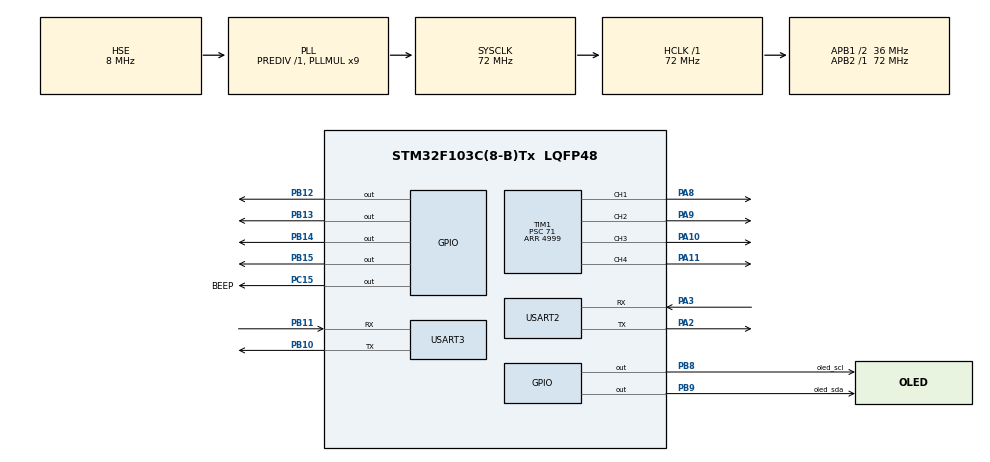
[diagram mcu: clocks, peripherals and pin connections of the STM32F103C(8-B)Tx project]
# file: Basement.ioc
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Dma.Request0=USART2_RX
Dma.Request1=USART3_RX
Dma.Request2=USART3_TX
Dma.USART2_RX.0.Direction=DMA_PERIPH_TO_MEMORY
Dma.USART2_RX.0.Instance=DMA1_Channel6
Dma.USART2_RX.0.MemDataAlignment=DMA_MDATAALIGN_BYTE
Dma.USART2_RX.0.MemInc=DMA_MINC_ENABLE
Dma.USART2_RX.0.Mode=DMA_NORMAL
Dma.USART2_RX.0.PeriphDataAlignment=DMA_PDATAALIGN_BYTE
Dma.USART2_RX.0.PeriphInc=DMA_PINC_DISABLE
Dma.USART2_RX.0.Priority=DMA_PRIORITY_LOW
Dma.USART3_RX.1.Direction=DMA_PERIPH_TO_MEMORY
Dma.USART3_RX.1.Instance=DMA1_Channel3
Dma.USART3_RX.1.MemDataAlignment=DMA_MDATAALIGN_BYTE
Dma.USART3_RX.1.MemInc=DMA_MINC_ENABLE
Dma.USART3_RX.1.Mode=DMA_NORMAL
Dma.USART3_RX.1.PeriphDataAlignment=DMA_PDATAALIGN_BYTE
Dma.USART3_RX.1.PeriphInc=DMA_PINC_DISABLE
Dma.USART3_RX.1.Priority=DMA_PRIORITY_LOW
Dma.USART3_TX.2.Direction=DMA_MEMORY_TO_PERIPH
Dma.USART3_TX.2.Instance=DMA1_Channel2
Dma.USART3_TX.2.MemDataAlignment=DMA_MDATAALIGN_BYTE
Dma.USART3_TX.2.MemInc=DMA_MINC_ENABLE
Dma.USART3_TX.2.Mode=DMA_NORMAL
Dma.USART3_TX.2.PeriphDataAlignment=DMA_PDATAALIGN_BYTE
Dma.USART3_TX.2.PeriphInc=DMA_PINC_DISABLE
Dma.USART3_TX.2.Priority=DMA_PRIORITY_LOW
Mcu.Family=STM32F1
Mcu.Name=STM32F103C(8-B)Tx
Mcu.Package=LQFP48
NVIC.DMA1_Channel2_IRQn=true\:0\:0\:false\:false\:true\:false\:true\:true
NVIC.DMA1_Channel3_IRQn=true\:0\:0\:false\:false\:true\:false\:true\:true
NVIC.DMA1_Channel6_IRQn=true\:0\:0\:false\:false\:true\:false\:true\:true
NVIC.PriorityGroup=NVIC_PRIORITYGROUP_4
NVIC.USART2_IRQn=true\:0\:0\:false\:false\:true\:true\:true\:true
NVIC.USART3_IRQn=true\:0\:0\:false\:false\:true\:true\:true\:true
PA10.Signal=S_TIM1_CH3
PA11.Signal=S_TIM1_CH4
PA13.Mode=Serial_Wire
PA13.Signal=SYS_JTMS-SWDIO
PA14.Mode=Serial_Wire
PA14.Signal=SYS_JTCK-SWCLK
PA2.Mode=Asynchronous
PA2.Signal=USART2_TX
PA3.Mode=Asynchronous
PA3.Signal=USART2_RX
PA8.Signal=S_TIM1_CH1
PA9.Signal=S_TIM1_CH2
PB10.Mode=Asynchronous
PB10.Signal=USART3_TX
PB11.Mode=Asynchronous
PB11.Signal=USART3_RX
PB12.PinState=GPIO_PIN_SET
PB12.Signal=GPIO_Output
PB13.Signal=GPIO_Output
PB14.PinState=GPIO_PIN_SET
PB14.Signal=GPIO_Output
PB15.Signal=GPIO_Output
PB8.GPIO_Label=oled_scl
PB8.GPIO_PuPd=GPIO_PULLUP
PB8.GPIO_Speed=GPIO_SPEED_FREQ_HIGH
PB8.PinState=GPIO_PIN_SET
PB8.Signal=GPIO_Output
PB9.GPIO_Label=oled_sda
PB9.GPIO_PuPd=GPIO_PULLUP
PB9.GPIO_Speed=GPIO_SPEED_FREQ_HIGH
PB9.PinState=GPIO_PIN_SET
PB9.Signal=GPIO_Output
PC15-OSC32_OUT.GPIO_Label=BEEP
PC15-OSC32_OUT.Signal=GPIO_Output
PD0-OSC_IN.Mode=HSE-External-Oscillator
PD0-OSC_IN.Signal=RCC_OSC_IN
PD1-OSC_OUT.Mode=HSE-External-Oscillator
PD1-OSC_OUT.Signal=RCC_OSC_OUT
ProjectManager.HeapSize=0x200
ProjectManager.StackSize=0x400
ProjectManager.TargetToolchain=MDK-ARM V5.32
RCC.AHBFreq_Value=72000000
RCC.APB1CLKDivider=RCC_HCLK_DIV2
RCC.APB1Freq_Value=36000000
RCC.APB1TimFreq_Value=72000000
RCC.APB2Freq_Value=72000000
RCC.APB2TimFreq_Value=72000000
RCC.HCLKFreq_Value=72000000
RCC.PLLMUL=RCC_PLL_MUL9
RCC.PLLSourceVirtual=RCC_PLLSOURCE_HSE
RCC.SYSCLKFreq_VALUE=72000000
RCC.SYSCLKSource=RCC_SYSCLKSOURCE_PLLCLK
RCC.USBFreq_Value=72000000
SH.S_TIM1_CH1.0=TIM1_CH1,PWM Generation1 CH1
SH.S_TIM1_CH2.0=TIM1_CH2,PWM Generation2 CH2
SH.S_TIM1_CH3.0=TIM1_CH3,PWM Generation3 CH3
SH.S_TIM1_CH4.0=TIM1_CH4,PWM Generation4 CH4
TIM1.Channel-PWM\ Generation1\ CH1=TIM_CHANNEL_1
TIM1.Channel-PWM\ Generation2\ CH2=TIM_CHANNEL_2
TIM1.Channel-PWM\ Generation3\ CH3=TIM_CHANNEL_3
TIM1.Channel-PWM\ Generation4\ CH4=TIM_CHANNEL_4
TIM1.Period=4999
TIM1.Prescaler=71
USART2.VirtualMode=VM_ASYNC
USART3.VirtualMode=VM_ASYNC
VP_TIM1_VS_ClockSourceINT.Mode=Internal
board=custom

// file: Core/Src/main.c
/* USER CODE BEGIN Header */
/**
  ******************************************************************************
  * @file           : main.c
  * @brief          : Main program body
  ******************************************************************************
  * @attention
  *
  * Copyright (c) 2022 STMicroelectronics.
  * All rights reserved.
  *
  * This software is licensed under terms that can be found in the LICENSE file
  * in the root directory of this software component.
  * If no LICENSE file comes with this software, it is provided AS-IS.
  *
  ******************************************************************************
  */
/* USER CODE END Header */
#include "main.h"
#include "dma.h"
#include "tim.h"
#include "usart.h"
#include "gpio.h"

/* USER CODE BEGIN Includes */
#include "task.h"
#include "Motor.control.h"
#include "test.h"
#include "stdbool.h"
#include "keyboard.h"
#include <math.h>
#include "pid.h"
#include <string.h>
#include <stdlib.h>
#include "oled.h"
#include "decoding.h"

/* USER CODE END Includes */

/* USER CODE BEGIN PTD */
void Start_pwm(void)
{
//  for (int i = 0; i <6; i++){
//    __HAL_TIM_SetCompare(&htim1,TIM_CHANNEL_1,i*500);
//    HAL_TIM_PWM_Start(&htim1,TIM_CHANNEL_1);
//
//    __HAL_TIM_SetCompare(&htim1,TIM_CHANNEL_2,0);
//    HAL_TIM_PWM_Start(&htim1,TIM_CHANNEL_2);

//    __HAL_TIM_SetCompare(&htim1,TIM_CHANNEL_3,0);
//    HAL_TIM_PWM_Start(&htim1,TIM_CHANNEL_3);

//    __HAL_TIM_SetCompare(&htim1,TIM_CHANNEL_4,0);
//    HAL_TIM_PWM_Start(&htim1,TIM_CHANNEL_4);
//
//    HAL_Delay(100);
//  }

  __HAL_TIM_SetCompare(&htim1,TIM_CHANNEL_1,0);
  HAL_TIM_PWM_Start(&htim1,TIM_CHANNEL_1);

  __HAL_TIM_SetCompare(&htim1,TIM_CHANNEL_2,0);
  HAL_TIM_PWM_Start(&htim1,TIM_CHANNEL_2);

  __HAL_TIM_SetCompare(&htim1,TIM_CHANNEL_3,0);
  HAL_TIM_PWM_Start(&htim1,TIM_CHANNEL_3);

  __HAL_TIM_SetCompare(&htim1,TIM_CHANNEL_4,0);
  HAL_TIM_PWM_Start(&htim1,TIM_CHANNEL_4);
}

void Stop_pwm(void)
{
  __HAL_TIM_SetCompare(&htim1,TIM_CHANNEL_1,0);
  HAL_TIM_PWM_Start(&htim1,TIM_CHANNEL_1);

  __HAL_TIM_SetCompare(&htim1,TIM_CHANNEL_2,0);
  HAL_TIM_PWM_Start(&htim1,TIM_CHANNEL_2);

  __HAL_TIM_SetCompare(&htim1,TIM_CHANNEL_3,0);
  HAL_TIM_PWM_Start(&htim1,TIM_CHANNEL_3);

  __HAL_TIM_SetCompare(&htim1,TIM_CHANNEL_4,0);
  HAL_TIM_PWM_Start(&htim1,TIM_CHANNEL_4);
}
extern M1TypeDef M1;
extern M2TypeDef M2;
extern void test_1(void);
char ch;
float distance[8] = {0, -29, -20, -10, 0, 10, 20, 28.1};

/* USER CODE END PTD */

void SystemClock_Config(void);

/* USER CODE BEGIN 0 */
void beep_on()
{
  HAL_GPIO_WritePin(BEEP_GPIO_Port, BEEP_Pin, GPIO_PIN_RESET);
}

void beep_off()
{
  HAL_GPIO_WritePin(BEEP_GPIO_Port, BEEP_Pin, GPIO_PIN_SET);
}

  task_state_t task_state;

  char keyboard_result;
  uint8_t i,j;
  int16_t Mode3_distance[2];

/**
 * @brief
 *
 * @param aimangle
 * @param balance_timelong
 * @param ifclearparam 是否清除参数，默认清除，在做第3问时不清除
 * @return uint8_t
 */
uint8_t runto_angle(float aimangle, uint32_t balance_timelong, uint8_t ifclearparam)
{
   bool finish;
   uint32_t sysTick = 0;

  uint32_t balance_begin_tick = 0;

  if (ifclearparam == 1) {
    PID_M1_Init();
    PID_M1_SetPoint(aimangle);	//X方向PID跟踪目标值sin
    PID_M1_SetKp(25/2.2 + 2);
    PID_M1_SetKi(0.325);
    PID_M1_SetKd((25/2.2+2)/4);
    // PID_M1_SetKi(0.79);
    // PID_M1_SetKd(3000);

    PID_M2_Init();
    PID_M2_SetPoint(aimangle);	//X方向PID跟踪目标值sin
    PID_M2_SetKp(25/2.2 + 2);  // 42 0.21
    PID_M2_SetKi(0.325);
    PID_M2_SetKd((25/2.2+2)/4);
    // PID_M2_SetKi(0.79);
    // PID_M2_SetKd(3000);
  }
  else {
    PID_M1_SetPoint(aimangle);	//X方向PID跟踪目标值sin
    PID_M2_SetPoint(aimangle);	//X方向PID跟踪目标值sin
  }

  while(1){
      if(HAL_GetTick() - sysTick >= 5){
        sysTick = HAL_GetTick();

        M1.CurX_angle = g_mpu6500_2.angle.Angle[0];
        M2.CurX_angle = g_mpu6500_2.angle.Angle[0];

        M1.PWM = PID_M1_PosLocCalc(M1.CurX_angle);
        M2.PWM = PID_M2_PosLocCalc(M2.CurX_angle);

        if(M1.PWM > DUTY_CYCLE_MAX)  M1.PWM =  DUTY_CYCLE_MAX;
        if(M1.PWM < -DUTY_CYCLE_MAX) M1.PWM = -DUTY_CYCLE_MAX;

        if(M2.PWM > DUTY_CYCLE_MAX)  M2.PWM =  DUTY_CYCLE_MAX;
        if(M2.PWM < -DUTY_CYCLE_MAX) M2.PWM = -DUTY_CYCLE_MAX;

        pwm_control(M1.PWM, M2.PWM);

        if(fabs(degree_2_X(M1.CurX_angle) - degree_2_X(aimangle)) < 2){
        //if(fabs(M1.CurX_angle - aimangle) < 0.45){
          //平衡
          if (balance_begin_tick == 0) {
            balance_begin_tick = HAL_GetTick();
          }
          else {
            if (HAL_GetTick() - balance_begin_tick >= balance_timelong) {

              return 1;
            }
          }

          beep_on();
        }
        else {
          balance_begin_tick = 0;
          beep_off();
        }
      }
  }

  return 0;
}

void task_1()
{
  uint8_t key_index = 0;
  char keyboard_result;
  char key_reserve[10];
  uint8_t i,j;
  float X_angle;

  //屏幕清零
  OLED_Clear();
  OLED_ShowString(10, 10, "Test Item 1", 16);
  OLED_Refresh();

  memset(key_reserve, 0, sizeof(key_reserve));

  while(1){

    //输入数字
    keyboard_result = matrix_keyboard_scan(&g_keyboard);

    HAL_Delay(100);

    if(keyboard_result != KEY_OK){

      if (keyboard_result == '0' || keyboard_result == '1' ||
          keyboard_result == '2' || keyboard_result == '3' ||
          keyboard_result == '4' || keyboard_result == '5' ||
          keyboard_result == '6' || keyboard_result == '7' ||
          keyboard_result == '8' || keyboard_result == '9' ||
          keyboard_result == '-') {

        key_reserve[key_index] = keyboard_result;
        key_index++;

        if (key_index >= 10) {
          //清屏
          OLED_ShowString(10, 26, "                ", 16);
          key_index = 0;
          memset(key_reserve, 0, sizeof(key_reserve));
        }
        else {
          OLED_ShowChar(10+key_index*16, 26, keyboard_result, 16);
          OLED_Refresh();
        }
      }
      else if (keyboard_result == KEY_CANCEL) {
        Stop_pwm();
        task_state = INIT;
        return;
      }
    }
    else {
      //确认了，运行到某个点

      X_angle = atof(key_reserve);

      X_angle = X_2_degree(X_angle);

      if (runto_angle(X_angle, 3000, 1) == 1) {
        //显示完成
        beep_off();
        Stop_pwm();
        OLED_Clear();
        OLED_ShowString(10, 10, "Test 1 finish", 16);
        OLED_Refresh();
        task_state = INIT;
        return;
      }
      else {
        //显示未完成
        OLED_Clear();
        OLED_ShowString(10, 10, "Test 1 fail", 16);
        OLED_Refresh();
      }

    }
  }

  task_state = INIT;
}

void task_2()
{
  int i;
  float x_angle[8];

  OLED_Clear();
  OLED_ShowString(10, 10, "Test Item 2", 16);
  OLED_Refresh();

  for(i=0; i<8; i++){
    x_angle[i] = X_2_degree(distance[i]);
    if (i == 0 || i == 5) {
      runto_angle(x_angle[i], 3000, 1);
    }
    else {
      runto_angle(x_angle[i], 3000, 0);
    }
        //显示完成
//    beep_off();
//    Stop_pwm();
    OLED_Clear();
    OLED_ShowString(10, 10, "Test2 go...", 16);
    OLED_Refresh();
  }

  beep_off();
  OLED_Clear();
  OLED_ShowString(10, 10, "Test2 finish", 16);
  OLED_Refresh();
  Stop_pwm();

  HAL_Delay(500);
  task_state = INIT;
  return;
}

void run_x2y_repeat(float X_angle1, float X_angle2, uint8_t runtimes, uint8_t iffirstclearparm)
{
  uint8_t i, ifclearparam;
  char tmpbuffer[32];

  for(i=0; i<runtimes; i++){

    sprintf(tmpbuffer, "Repeat %d", i+1);
    OLED_ShowString(10, 26, "                    ", 16);
    OLED_ShowString(10, 26, tmpbuffer, 16);
    OLED_Refresh();

    if (i == 0) {
      if (iffirstclearparm == 1) {
        ifclearparam = 1;
      }
      else {
        ifclearparam = 0;
      }
    }
    else {
      ifclearparam = 0;
    }

    if (runto_angle(X_angle1, 100, ifclearparam) == 1) {
      //显示完成
      beep_off();
      //Stop_pwm();
    }
    else {
      //显示未完成
    }

    if (runto_angle(X_angle2, 100, 0) == 1) {
      //显示完成
      beep_off();
    }
    else {
      //显示未完成
    }
  }
}

void task_F_1()
{
  uint8_t key_index1 = 0, key_index2 = 0;
  char keyboard_result, state;
  char key_reserve1[10], key_reserve2[10];
  uint8_t i,j;
  uint8_t ifclearparam;
  float X_angle1 = 0, X_angle2 = 0;

  //屏幕清零
  OLED_Clear();
  OLED_ShowString(10, 10, "Test F-1", 16);
  OLED_Refresh();

  memset(key_reserve1, 0, sizeof(key_reserve1));
  memset(key_reserve2, 0, sizeof(key_reserve2));

  while(1){

    //输入数字
    keyboard_result = matrix_keyboard_scan(&g_keyboard);

    HAL_Delay(100);

    if(keyboard_result != KEY_OK && keyboard_result != KEY_MARK){

      if (keyboard_result == '0' || keyboard_result == '1' ||
          keyboard_result == '2' || keyboard_result == '3' ||
          keyboard_result == '4' || keyboard_result == '5' ||
          keyboard_result == '6' || keyboard_result == '7' ||
          keyboard_result == '8' || keyboard_result == '9' ||
          keyboard_result == '-') {
        if(state != KEY_MARK){
          key_reserve1[key_index1] = keyboard_result;
          key_index1++;

          if (key_index1 >= 10) {
            //清屏
            OLED_ShowString(10, 26, "                ", 16);
            key_index1 = 0;
            memset(key_reserve1, 0, sizeof(key_reserve1));
          }
          else {
            OLED_ShowChar(3+key_index1*16, 26, keyboard_result, 12);
            OLED_Refresh();
          }
        }else{
          key_reserve2[key_index2] = keyboard_result;
          key_index2++;

          if (key_index2 >= 10) {
            //清屏
            OLED_ShowString(10, 26, "                ", 16);
            key_index2 = 0;
            memset(key_reserve2, 0, sizeof(key_reserve2));
            }
            else{
              OLED_ShowChar(3+(key_index2+key_index1+1)*16, 26, keyboard_result, 12);
              OLED_Refresh();
            }
          }
      }else if (keyboard_result == KEY_CANCEL) {

        Stop_pwm();
        task_state = INIT;
        return;
      }

    }else if(keyboard_result == KEY_MARK){
      state = KEY_MARK;
      OLED_ShowChar(3+(key_index1+1)*16, 26, keyboard_result, 12);
      OLED_Refresh();
    }else{
      //确认了，运行到某个点

      X_angle1 = atof(key_reserve1);
      X_angle2 = atof(key_reserve2);

      X_angle1 = X_2_degree(X_angle1);
      X_angle2 = X_2_degree(X_angle2);

      for(i=0; i<4; i++){

        if (i == 0) {
          ifclearparam = 1;
        }
        else {
          ifclearparam = 0;
        }

        if (runto_angle(X_angle1, 3000, ifclearparam) == 1) {
          //显示完成
          beep_off();
          //Stop_pwm();
          OLED_Clear();
          OLED_ShowString(10, 10, "Test3 go...", 16);
          OLED_Refresh();
        }
        else {
          //显示未完成
          OLED_Clear();
          OLED_ShowString(10, 10, "Test 3 fail", 16);
          OLED_Refresh();
          task_state = INIT;
          return;
        }

        if (runto_angle(X_angle2, 3000, 0) == 1) {
          //显示完成
          beep_off();
          //Stop_pwm();
          OLED_Clear();
          OLED_ShowString(10, 10, "Test3 go...", 16);
          OLED_Refresh();
        }
        else {
          //显示未完成
          OLED_Clear();
          OLED_ShowString(10, 10, "Test 3 fail", 16);
          OLED_Refresh();
          task_state = INIT;
          return;
        }
      }
      beep_off();
      Stop_pwm();
      break;
    }
  }

  OLED_Clear();
  OLED_ShowString(10, 10, "Test3 finish", 16);
  OLED_Refresh();

  HAL_Delay(500);
  task_state = INIT;
  return;
}

pc_t g_pc;

void pc__init()
{
  memset(&g_pc, 0, sizeof(pc_t));
  g_pc.huart = &huart3;

}

void pc__open_to_receive(void)
{
    g_pc.rev_state = SEARCH_FRAMEHEAD;
    memset(&g_pc.rev_buffer, 0, sizeof(g_pc.rev_buffer));
    HAL_UART_AbortReceive_IT(g_pc.huart);
    __HAL_UART_CLEAR_IDLEFLAG(g_pc.huart);
    __HAL_UART_ENABLE_IT(g_pc.huart, UART_IT_IDLE);
    HAL_UART_Receive_DMA(g_pc.huart, g_pc.rx_dma_buffer_shadow, PC_RX_DMA_MAXSIZE);
}

void pc__stop_receive(void)
{
  HAL_UART_AbortReceive_IT(g_pc.huart);
  __HAL_UART_CLEAR_IDLEFLAG(g_pc.huart);
  __HAL_UART_DISABLE_IT(g_pc.huart, UART_IT_IDLE);
}

void pc__getkey(uint8_t key)
{
  if (g_pc.rev_state == SEARCH_FRAMEHEAD) {
    if (key == '%') {
      g_pc.rev_state = SEARCH_FRAMETAIL;
      g_pc.rev_buffer[0] = '%';
      g_pc.rev_write_index = 1;
    }
  }
  else if (g_pc.rev_state == SEARCH_FRAMETAIL) {
    g_pc.rev_buffer[g_pc.rev_write_index] = key;
    g_pc.rev_write_index++;

    if (key == '&') {
      //接收到了帧尾
      g_pc.rev_state = SEARCH_DATA;
      pc__stop_receive();
    }
    else {
      if (g_pc.rev_write_index >= 100) {
        g_pc.rev_state = SEARCH_FRAMEHEAD;
      }
    }

  }
}

void pc__rev_msg(uint8_t *revbuff, uint8_t revlength)
{
  uint8_t i;

  for (i = 0; i < revlength; i++) {
    pc__getkey(revbuff[i]);
  }
}

void task_F_2()
{
  int i;
  float x_angle[8];
  List* cmdlist;
  CommandConfig cmd;
  char tmpbuffer[32];
  uint32_t cmdrunstep;

  OLED_Clear();
  OLED_ShowString(10, 10, "Test F-2", 16);
  OLED_ShowString(10, 26, "wait cmd...", 16);
  OLED_Refresh();

  pc__open_to_receive();

  while (1) {

    //输入数字
    keyboard_result = matrix_keyboard_scan(&g_keyboard);

    if (keyboard_result == KEY_CANCEL) {
        Stop_pwm();
        task_state = INIT;
        return;
    }

    if (g_pc.rev_state == SEARCH_DATA) {
      //如果接收到了数据，开始运行指令
      cmdlist = regex_string((const char*)g_pc.rev_buffer);

      while (1) {
        //输入数字
        keyboard_result = matrix_keyboard_scan(&g_keyboard);

        if (keyboard_result == KEY_CANCEL) {
            Stop_pwm();
            beep_off();
            task_state = INIT;
            return;
        }

        cmd = deal_command(cmdlist);

        if (cmd.flag == -1) {
          cmdlist = regex_string((const char*)g_pc.rev_buffer);
          continue;
        }
        else if (cmd.flag == 0) { //a#b
          //执行a#b
          OLED_ShowString(10, 42, "                 ", 16);
          sprintf(tmpbuffer, "%d#%d", cmd.operate.config_a_b.a, cmd.operate.config_a_b.b);
          OLED_ShowString(10, 42, tmpbuffer, 16);
          OLED_Refresh();
          if (cmdrunstep == 0 ) {
            if (runto_angle(X_2_degree(cmd.operate.config_a_b.a), cmd.operate.config_a_b.b*1000, 1) == 1) {

            }
            else {
            }
          }
          else {
            if (runto_angle(X_2_degree(cmd.operate.config_a_b.a), cmd.operate.config_a_b.b*1000, 0) == 1) {

            }
            else {
            }
          }
          cmdrunstep++;
        }
        else if (cmd.flag == 1) { //c@d#e
          //执行a#b
          OLED_ShowString(10, 42, "                 ", 16);
          sprintf(tmpbuffer, "%d@%d#%d", cmd.operate.config_c_d_e.c,
            cmd.operate.config_c_d_e.d, cmd.operate.config_c_d_e.e);
          OLED_ShowString(10, 42, tmpbuffer, 16);
          OLED_Refresh();

          if (cmdrunstep == 0) {
            run_x2y_repeat(X_2_degree(cmd.operate.config_c_d_e.c),
              X_2_degree(cmd.operate.config_c_d_e.d),
              cmd.operate.config_c_d_e.e, 1);
          }
          else {
            run_x2y_repeat(X_2_degree(cmd.operate.config_c_d_e.c),
              X_2_degree(cmd.operate.config_c_d_e.d),
              cmd.operate.config_c_d_e.e, 0);
          }

          cmdrunstep++;
        }
      }

      Stop_pwm();
  	  beep_off();
      task_state = INIT;
      return;
    }
    HAL_Delay(50);
  }

}
/* USER CODE END 0 */

int main(void)
{

  /* MCU Configuration--------------------------------------------------------*/

  /* Reset of all peripherals, Initializes the Flash interface and the Systick. */
  HAL_Init();

  /* Configure the system clock */
  SystemClock_Config();

  /* Initialize all configured peripherals */
  MX_GPIO_Init();
  MX_TIM1_Init();
  MX_DMA_Init();
  MX_USART2_UART_Init();
  MX_USART3_UART_Init();
  /* USER CODE BEGIN 2 */
  beep_off();
  OLED_Init();
  mpu6500__init(&g_mpu6500_2, &huart2);
  mpu6500__open_to_receive(&g_mpu6500_2);
  imu_calibration_to_zero();///< 先进行陀螺仪校准
  beep_on();
  Motor_init();///< 对电机相关参数进行初始化
  keyboard_init();///< 矩阵键盘初始
  pc__init();

  OLED_Clear();
  OLED_ShowString(10, 10, "Select Item", 16);
  OLED_Refresh();
  HAL_Delay(100);
  beep_off();

  #if 0
  while (1) {
    keyboard_result = matrix_keyboard_scan(&g_keyboard);
    if (keyboard_result != 0) {
      OLED_ShowChar(10, 10, ' ', 16);
      OLED_ShowChar(10, 10, keyboard_result, 16);
      OLED_Refresh();
    }

  }
  #endif

  // Stop_pwm();
  Start_pwm();

    // pwm_control(4000, 4000);
    // while(1);
  //runto_angle(X_2_degree(25), 5000);
  //while(1);

  /* USER CODE END 2 */

  /* Infinite loop */
  while (1)
  {

    /* USER CODE BEGIN 3 */

    // if(task_state = INIT){

    // }

    keyboard_result = matrix_keyboard_scan(&g_keyboard);
    if(keyboard_result!=0){
      ch = keyboard_result;
    }
    switch(keyboard_result){
      case '1':
        task_state = MODE_ONE;
        task_1();
        if(task_state == INIT){
          OLED_Clear();
          OLED_ShowString(10, 10, "Select Item", 16);
          OLED_Refresh();
        }
        break;
      case '2':
        task_state = MODE_TWO;
        task_2();
        if(task_state == INIT){
          OLED_Clear();
          OLED_ShowString(10, 10, "Select Item", 16);
          OLED_Refresh();
        }
        break;
      case '3':
        task_state = MODE_THREE;
        task_F_1();
        if(task_state == INIT){
          OLED_Clear();
          OLED_ShowString(10, 10, "Select Item", 16);
          OLED_Refresh();
        }
        break;
      case '4':
        task_state = MODE_FOUR;
        break;
      case '5':
        task_state = MODE_THREE;
        task_F_2();
        if(task_state == INIT){
          OLED_Clear();
          OLED_ShowString(10, 10, "Select Item", 16);
          OLED_Refresh();
        }
        break;
        task_state = MODE_FIVE;
        break;
    }
    HAL_Delay(150);
  }
  /* USER CODE END 3 */
}

void SystemClock_Config(void)
{
  RCC_OscInitTypeDef RCC_OscInitStruct = {0};
  RCC_ClkInitTypeDef RCC_ClkInitStruct = {0};

  /** Initializes the RCC Oscillators according to the specified parameters
  * in the RCC_OscInitTypeDef structure.
  */
  RCC_OscInitStruct.OscillatorType = RCC_OSCILLATORTYPE_HSE;
  RCC_OscInitStruct.HSEState = RCC_HSE_ON;
  RCC_OscInitStruct.HSEPredivValue = RCC_HSE_PREDIV_DIV1;
  RCC_OscInitStruct.HSIState = RCC_HSI_ON;
  RCC_OscInitStruct.PLL.PLLState = RCC_PLL_ON;
  RCC_OscInitStruct.PLL.PLLSource = RCC_PLLSOURCE_HSE;
  RCC_OscInitStruct.PLL.PLLMUL = RCC_PLL_MUL9;
  if (HAL_RCC_OscConfig(&RCC_OscInitStruct) != HAL_OK)
  {
    Error_Handler();
  }

  /** Initializes the CPU, AHB and APB buses clocks
  */
  RCC_ClkInitStruct.ClockType = RCC_CLOCKTYPE_HCLK|RCC_CLOCKTYPE_SYSCLK
                              |RCC_CLOCKTYPE_PCLK1|RCC_CLOCKTYPE_PCLK2;
  RCC_ClkInitStruct.SYSCLKSource = RCC_SYSCLKSOURCE_PLLCLK;
  RCC_ClkInitStruct.AHBCLKDivider = RCC_SYSCLK_DIV1;
  RCC_ClkInitStruct.APB1CLKDivider = RCC_HCLK_DIV2;
  RCC_ClkInitStruct.APB2CLKDivider = RCC_HCLK_DIV1;

  if (HAL_RCC_ClockConfig(&RCC_ClkInitStruct, FLASH_LATENCY_2) != HAL_OK)
  {
    Error_Handler();
  }
}

void Error_Handler(void)
{
  __disable_irq();
  while (1)
  {
  }
}
